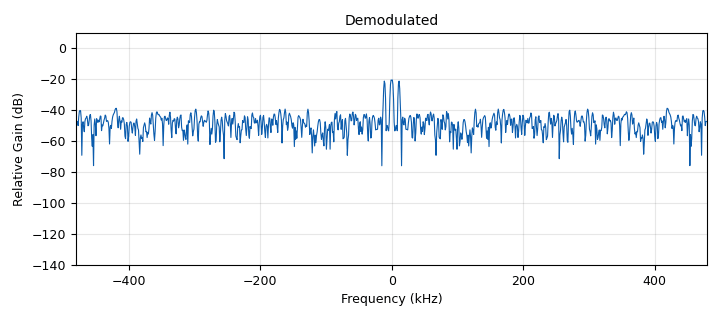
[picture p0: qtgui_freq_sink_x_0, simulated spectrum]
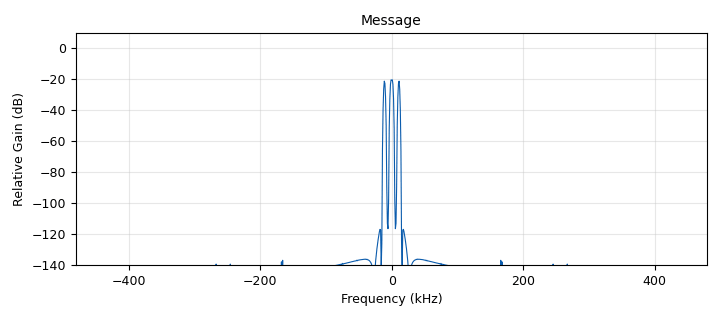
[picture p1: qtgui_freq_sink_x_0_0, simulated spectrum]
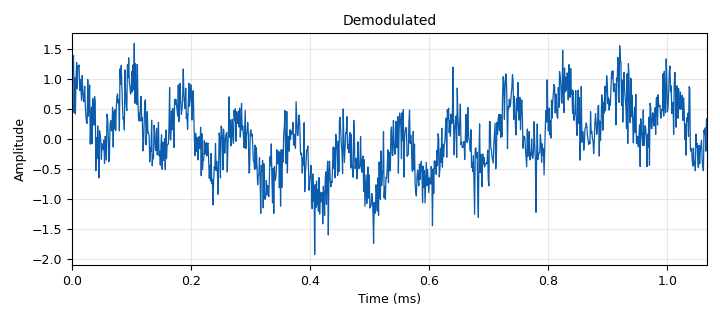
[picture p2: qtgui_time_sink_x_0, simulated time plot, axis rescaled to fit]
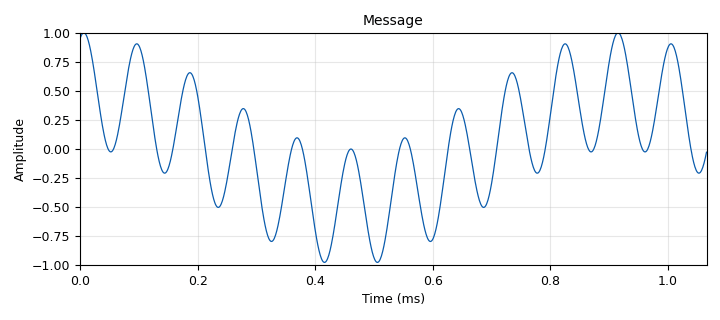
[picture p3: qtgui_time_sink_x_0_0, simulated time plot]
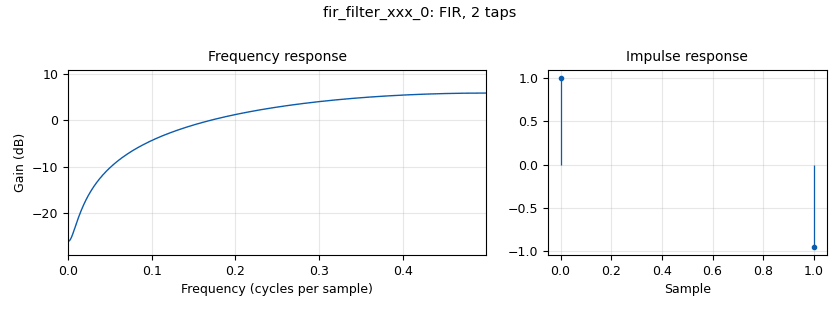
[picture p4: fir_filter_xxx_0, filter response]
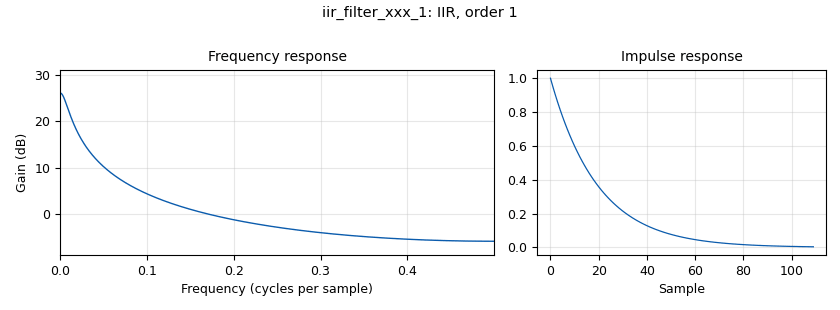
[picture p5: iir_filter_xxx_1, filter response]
options:
  parameters:
    author: Jatin
    generate_options: qt_gui
    id: emphasis
    output_language: python
    title: Not titled yet
  states: {}

blocks:
- name: f_delta
  id: variable
  parameters:
    value: '75000'
  states: {}
- name: fc
  id: variable
  parameters:
    value: '300000'
  states: {}
- name: samp_rate
  id: variable
  parameters:
    value: '960000'
  states: {}
- name: analog_noise_source_x_0
  id: analog_noise_source_x
  parameters:
    amp: '0.2'
    noise_type: analog.GR_GAUSSIAN
    seed: '0'
    type: complex
  states: {}
- name: analog_phase_modulator_fc_0
  id: analog_phase_modulator_fc
  parameters:
    sensitivity: 2*3.14159*f_delta
  states: {}
- name: analog_sig_source_x_0
  id: analog_sig_source_x
  parameters:
    amp: '0.5'
    freq: '11000'
    offset: '0'
    phase: '0'
    samp_rate: samp_rate
    type: float
    waveform: analog.GR_COS_WAVE
  states: {}
- name: analog_sig_source_x_1
  id: analog_sig_source_x
  parameters:
    amp: '1'
    freq: fc
    offset: '0'
    phase: '0'
    samp_rate: samp_rate
    type: complex
    waveform: analog.GR_COS_WAVE
  states: {}
- name: analog_sig_source_x_2
  id: analog_sig_source_x
  parameters:
    amp: '0.5'
    freq: '1100'
    offset: '0'
    phase: '0'
    samp_rate: samp_rate
    type: float
    waveform: analog.GR_COS_WAVE
  states: {}
- name: blocks_add_const_vxx_0
  id: blocks_add_const_vxx
  parameters:
    const: '-2*3.14159*fc'
    type: float
  states: {}
- name: blocks_add_xx_0
  id: blocks_add_xx
  parameters:
    type: float
  states: {}
- name: blocks_add_xx_1
  id: blocks_add_xx
  parameters:
    type: complex
  states: {}
- name: blocks_complex_to_arg_0_0
  id: blocks_complex_to_arg
  parameters: {}
  states: {}
- name: blocks_conjugate_cc_0
  id: blocks_conjugate_cc
  parameters: {}
  states: {}
- name: blocks_delay_0
  id: blocks_delay
  parameters:
    delay: '1'
    type: complex
  states: {}
- name: blocks_multiply_const_vxx_0
  id: blocks_multiply_const_vxx
  parameters:
    const: 1/(2*3.14159*f_delta)
    type: float
  states: {}
- name: blocks_multiply_const_vxx_1
  id: blocks_multiply_const_vxx
  parameters:
    const: samp_rate
    type: float
  states: {}
- name: blocks_multiply_xx_0
  id: blocks_multiply_xx
  parameters:
    type: complex
  states: {}
- name: blocks_multiply_xx_1
  id: blocks_multiply_xx
  parameters:
    type: complex
  states: {}
- name: fir_filter_xxx_0
  id: fir_filter_xxx
  parameters:
    decim: '1'
    taps: '[1, -0.95]'
    type: fff
  states: {}
- name: iir_filter_xxx_0
  id: iir_filter_xxx
  parameters:
    fbtaps: '[1, 1]'
    fftaps: '[1/samp_rate]'
    type: ffd
  states: {}
- name: iir_filter_xxx_1
  id: iir_filter_xxx
  parameters:
    fbtaps: '[1, 0.95]'
    fftaps: '[1]'
    type: ffd
  states: {}
- name: qtgui_freq_sink_x_0
  id: qtgui_freq_sink_x
  parameters:
    bw: samp_rate
    fc: '0'
    fftsize: '1024'
    gui_hint: tabs@1
    name: Demodulated
    type: float
  states: {}
- name: qtgui_freq_sink_x_0_0
  id: qtgui_freq_sink_x
  parameters:
    bw: samp_rate
    fc: '0'
    fftsize: '1024'
    gui_hint: tabs@1
    name: Message
    type: float
  states: {}
- name: qtgui_time_sink_x_0
  id: qtgui_time_sink_x
  parameters:
    gui_hint: tabs@0
    name: Demodulated
    size: '1024'
    srate: samp_rate
    type: float
  states: {}
- name: qtgui_time_sink_x_0_0
  id: qtgui_time_sink_x
  parameters:
    gui_hint: tabs@0
    name: Message
    size: '1024'
    srate: samp_rate
    type: float
  states: {}
- name: tabs
  id: qtgui_tab_widget
  parameters:
    label0: Time domain
    label1: Frequency domain
    num_tabs: '2'
  states: {}

connections:
- [analog_noise_source_x_0, '0', blocks_add_xx_1, '1']
- [analog_phase_modulator_fc_0, '0', blocks_multiply_xx_0, '0']
- [analog_sig_source_x_0, '0', blocks_add_xx_0, '0']
- [analog_sig_source_x_1, '0', blocks_multiply_xx_0, '1']
- [analog_sig_source_x_2, '0', blocks_add_xx_0, '1']
- [blocks_add_const_vxx_0, '0', blocks_multiply_const_vxx_0, '0']
- [blocks_add_xx_0, '0', fir_filter_xxx_0, '0']
- [blocks_add_xx_0, '0', qtgui_freq_sink_x_0_0, '0']
- [blocks_add_xx_0, '0', qtgui_time_sink_x_0_0, '0']
- [blocks_add_xx_1, '0', blocks_delay_0, '0']
- [blocks_add_xx_1, '0', blocks_multiply_xx_1, '0']
- [blocks_complex_to_arg_0_0, '0', blocks_multiply_const_vxx_1, '0']
- [blocks_conjugate_cc_0, '0', blocks_multiply_xx_1, '1']
- [blocks_delay_0, '0', blocks_conjugate_cc_0, '0']
- [blocks_multiply_const_vxx_0, '0', iir_filter_xxx_1, '0']
- [blocks_multiply_const_vxx_1, '0', blocks_add_const_vxx_0, '0']
- [blocks_multiply_xx_0, '0', blocks_add_xx_1, '0']
- [blocks_multiply_xx_1, '0', blocks_complex_to_arg_0_0, '0']
- [fir_filter_xxx_0, '0', iir_filter_xxx_0, '0']
- [iir_filter_xxx_0, '0', analog_phase_modulator_fc_0, '0']
- [iir_filter_xxx_1, '0', qtgui_freq_sink_x_0, '0']
- [iir_filter_xxx_1, '0', qtgui_time_sink_x_0, '0']

metadata:
  file_format: 1
  grc_version: 3.10.9.2
